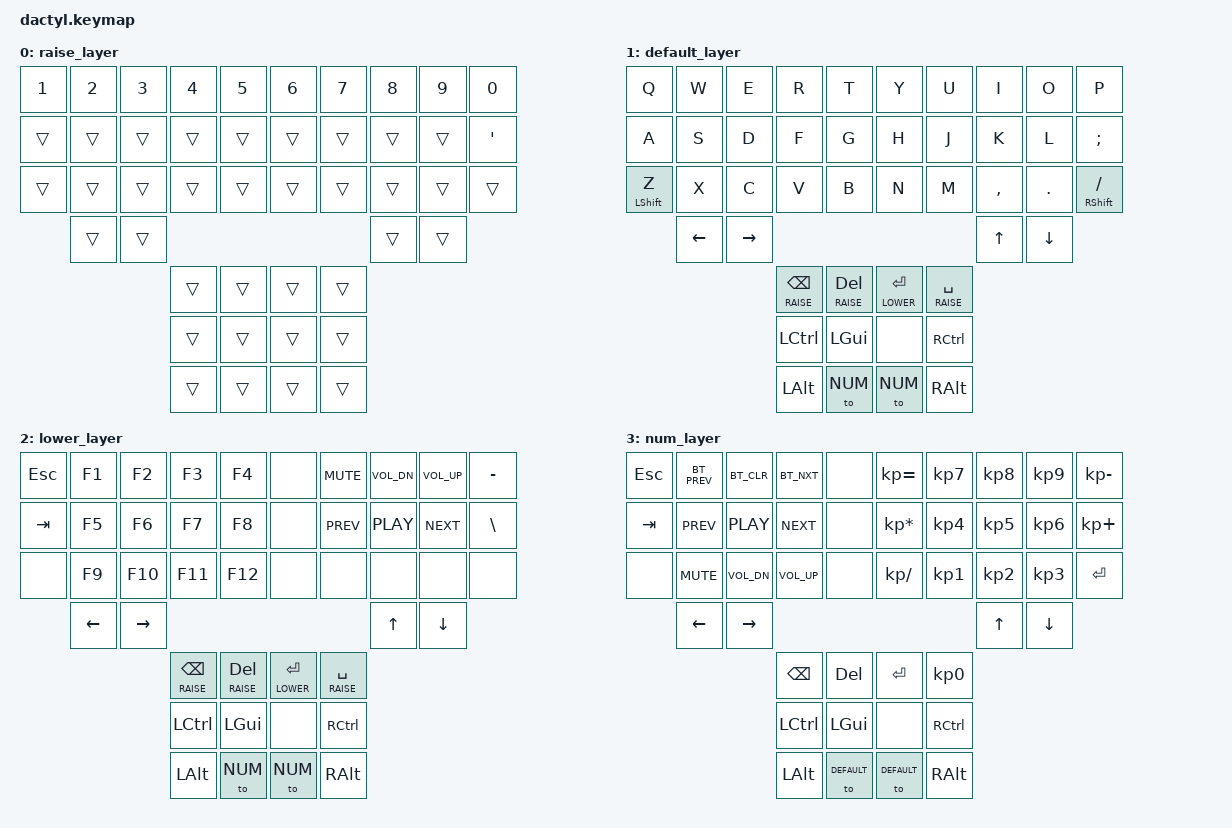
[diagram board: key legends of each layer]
/*
 * Copyright (c) 2021 The ZMK Contributors
 *
 * SPDX-License-Identifier: MIT
 */

#include <behaviors.dtsi>
#include <dt-bindings/zmk/keys.h>
#include <dt-bindings/zmk/bt.h>
#include <dt-bindings/zmk/outputs.h>


/ {
    keymap {
        compatible = "zmk,keymap";

        raise_layer {
            bindings = <
    &kp N1    &kp N2   &kp N3    &kp N4    &kp N5          &kp N6    &kp N7    &kp N8    &kp N9    &kp N0
    &trans    &trans   &trans    &trans    &trans          &trans    &trans    &trans    &trans    &kp SQT
    &trans    &trans   &trans    &trans    &trans          &trans    &trans    &trans    &trans    &trans
              &trans   &trans                                                  &trans    &trans
                                 &trans    &trans          &trans    &trans
                                 &trans    &trans          &trans    &trans
                                 &trans    &trans          &trans    &trans
            >;
        };

        default_layer {
            bindings = <
        &kp Q  &kp W    &kp E     &kp R     &kp T          &kp Y     &kp U     &kp I     &kp O     &kp P
        &kp A  &kp S    &kp D     &kp F     &kp G          &kp H     &kp J     &kp K     &kp L     &kp SEMI
 &mt LSHIFT Z  &kp X    &kp C     &kp V     &kp B          &kp N     &kp M     &kp COMMA &kp DOT   &mt RSHIFT FSLH
               &kp LEFT &kp RIGHT                                              &kp UP    &kp DOWN
                    &lt RAISE BSPC  &lt RAISE DEL          &lt LOWER RET   &lt RAISE SPACE
                    &kp LCTRL       &kp LGUI               &none           &kp RCTRL
                    &kp LALT        &to NUM                &to NUM         &kp RALT
            >;
        };

        lower_layer {
            bindings = <
    &kp ESC   &kp F1   &kp F2    &kp F3    &kp F4          &none     &kp C_MUTE &kp C_VOL_DN &kp C_VOL_UP &kp MINUS
    &kp TAB   &kp F5   &kp F6    &kp F7    &kp F8          &none     &kp C_PREV &kp C_PLAY   &kp C_NEXT   &kp BSLH
    &none     &kp F9   &kp F10   &kp F11   &kp F12         &none     &none      &none        &none        &none
              &kp LEFT &kp RIGHT                                                &kp UP    &kp DOWN
                    &lt RAISE BSPC  &lt RAISE DEL          &lt LOWER RET   &lt RAISE SPACE
                    &kp LCTRL       &kp LGUI               &none           &kp RCTRL
                    &kp LALT        &to NUM                &to NUM         &kp RALT
            >;
        };

        num_layer {
            bindings = <
    &kp ESC  &kp BT_PREV &kp BT_CLR   &kp BT_NXT   &none     &kp KP_EQUAL    &kp KP_N7 &kp KP_N8 &kp KP_N9 &kp KP_MINUS
    &kp TAB  &kp C_PREV  &kp C_PLAY   &kp C_NEXT   &none     &kp KP_MULTIPLY &kp KP_N4 &kp KP_N5 &kp KP_N6 &kp KP_PLUS
    &none    &kp C_MUTE  &kp C_VOL_DN &kp C_VOL_UP &none     &kp KP_DIVIDE   &kp KP_N1 &kp KP_N2 &kp KP_N3 &kp RET
             &kp LEFT    &kp RIGHT                                               &kp UP    &kp DOWN
                    &kp BSPC        &kp DEL                  &kp RET      &kp KP_N0
                    &kp LCTRL       &kp LGUI                 &none        &kp RCTRL
                    &kp LALT        &to DEFAULT              &to DEFAULT  &kp RALT
            >;
        };
    };
};
